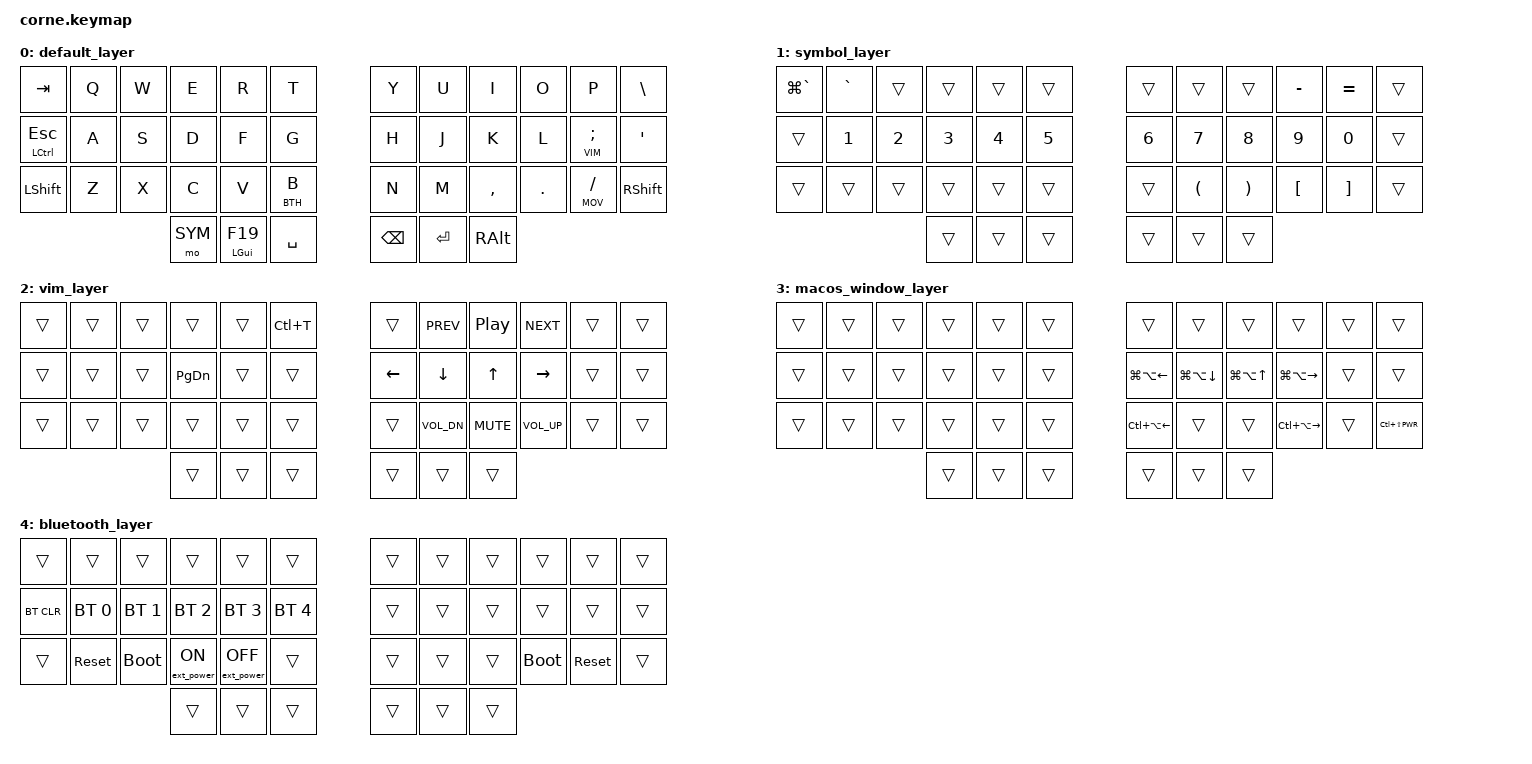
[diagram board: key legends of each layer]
/*
 * Copyright (c) 2020 The ZMK Contributors
 *
 * SPDX-License-Identifier: MIT
 */

#include <behaviors.dtsi>
#include <dt-bindings/zmk/keys.h>
#include <dt-bindings/zmk/bt.h>
#include <dt-bindings/zmk/ext_power.h>

#define QWR 0
#define SYM 1
#define VIM 2
#define MOV 3
#define BTH 4

&mt {
  tapping_term_ms = <150>;
};

/ {
        keymap {
                compatible = "zmk,keymap";

                default_layer {
// -----------------------------------------------------------------------------------------
// |  TAB   |  Q  |  W  |  E  |  R  |  T  |   |  Y  |  U   |  I  |  O  |  P  | BSLH |
// | CTRL/E |  A  |  S  |  D  |  F  |  G  |   |  H  |  J   |  K  |  L  |  ;  |  '   |
// | SHFT   |  Z  |  X  |  C  |  V  |  B  |   |  N  |  M   |  ,  |  .  |  /  | SHFT |
//                      | SYM | GUI | SPC |   | BSPC| ENT  | ALT |
                        bindings = <
   &kp TAB       &kp Q &kp W &kp E   &kp R        &kp T       &kp Y    &kp U   &kp I     &kp O   &kp P        &kp BSLH
   &mt LCTRL ESC &kp A &kp S &kp D   &kp F        &kp G       &kp H    &kp J   &kp K     &kp L   &lt VIM SEMI &kp SQT
   &kp LSHFT     &kp Z &kp X &kp C   &kp V        &lt BTH B   &kp N    &kp M   &kp COMMA &kp DOT &lt MOV FSLH &kp RSHFT
                             &mo SYM &mt LGUI F19 &kp SPACE   &kp BSPC &kp RET &kp RALT
                        >;
                };

                symbol_layer {
// -----------------------------------------------------------------------------------------
// | CMD+`|  `  |     |     |     |     |   |     |     |     |  -  |  =  |      |
// |      |  1  |  2  |  3  |  4  |  5  |   |  6  |  7  |  8  |  9  |  0  |      |
// |      |     |     |     |     |     |   |     |  (  |  )  |  [  |  ]  |      |
//                    |     |     |     |   |     |     |     |
                        bindings = <
   &kp LG(GRAVE)  &kp GRAVE &trans &trans &trans &trans      &trans &trans   &trans   &kp MINUS &kp EQUAL &trans
   &trans         &kp N1    &kp N2 &kp N3 &kp N4 &kp N5      &kp N6 &kp N7   &kp N8   &kp N9    &kp N0    &trans
   &trans         &trans    &trans &trans &trans &trans      &trans &kp LPAR &kp RPAR &kp LBKT  &kp RBKT  &trans
                            &trans &trans &trans      &trans &trans &trans
                        >;
                };

                vim_layer {
// -----------------------------------------------------------------------------------------
// |      |     |     |     |     | C-T |   |     | <<  |PLAY | >>  |     |      |
// |      |     |     |PG_DN|     |     |   |LEFT |DOWN | UP  |RIGHT|     |      |
// |      |     |     |     |     |     |   |     | V-  |MUTE | V+  |     |      |
//                    |     |     |     |   |     |     |     |
                        bindings = <
   &trans &trans &trans &trans    &trans &kp LC(T)   &trans   &kp C_PREV   &kp C_PP   &kp C_NEXT   &trans &trans
   &trans &trans &trans &kp PG_DN &trans &trans      &kp LEFT &kp DOWN     &kp UP     &kp RIGHT    &trans &trans
   &trans &trans &trans &trans    &trans &trans      &trans   &kp C_VOL_DN &kp C_MUTE &kp C_VOL_UP &trans &trans
                        &trans    &trans &trans      &trans   &trans       &trans
                        >;
                };

                macos_window_layer {
// -----------------------------------------------------------------------------------------
// |      |     |     |     |     |     |   |     |     |     |     |     |      |
// |      |     |     |     |     |     |   |LEFT |DOWN | UP  |RIGHT|     |      |
// |      |     |     |     |     |     |   |WTHL |     |     |WTHR |     | AFK  |
//                    |     |     |     |   |     |     |     |
                        bindings = <
   &trans &trans &trans &trans &trans &trans      &trans   &trans   &trans   &trans   &trans &trans
   &trans &trans &trans &trans &trans &trans      &kp LG(LA(LEFT)) &kp LG(LA(DOWN)) &kp LG(LA(UP)) &kp LG(LA(RIGHT)) &trans &trans
   &trans &trans &trans &trans &trans &trans      &kp LC(LA(LEFT)) &trans           &trans &kp LC(LA(RIGHT)) &trans &kp LC(LS(C_PWR))
                        &trans &trans &trans      &trans &trans &trans
                        >;
                };

                bluetooth_layer {
// -----------------------------------------------------------------------------------------
// |      |     |     |     |     |     |   |     |     |     |     |     |      |
// | BTCLR| BT1 | BT2 | BT3 | BT4 | BT5 |   |     |     |     |     |     |      |
// |      |     |     | PWR+| PWR-|     |   |     |     |     |     |     |      |
//                    |     |     |     |   |     |     |     |
                        bindings = <
   &trans     &trans       &trans       &trans           &trans            &trans            &trans &trans &trans &trans      &trans &trans
   &bt BT_CLR &bt BT_SEL 0 &bt BT_SEL 1 &bt BT_SEL 2     &bt BT_SEL 3      &bt BT_SEL 4      &trans &trans &trans &trans      &trans &trans
   &trans     &sys_reset       &bootloader  &ext_power EP_ON &ext_power EP_OFF &trans
   &trans &trans &trans &bootloader &sys_reset &trans
                                        &trans           &trans            &trans            &trans &trans &trans
                        >;
                };

        };
};
